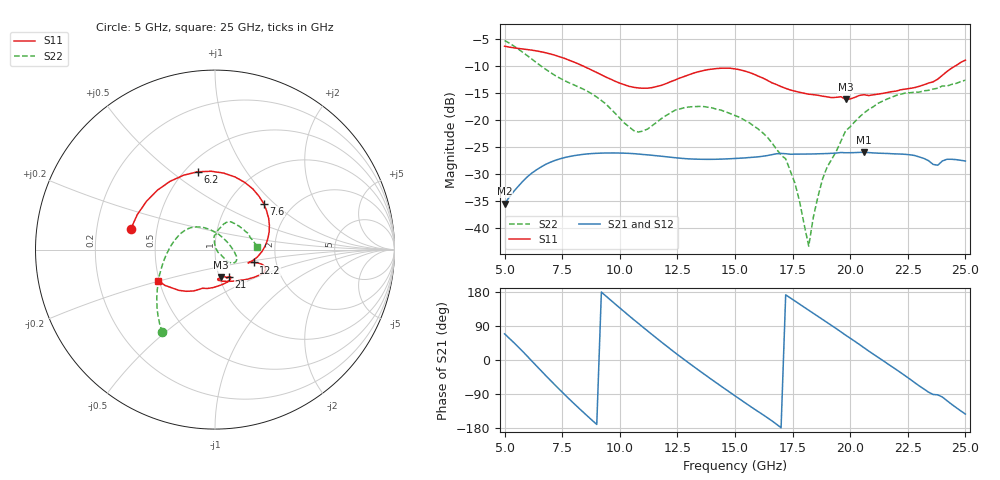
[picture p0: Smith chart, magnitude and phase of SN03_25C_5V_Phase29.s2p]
!File name = SN03_25C_5V_Phase29.s2p
!Date = 2/3/2014
!Time = 2:36 PM
!Test duration(min) = 0.07
!Test = SPars
!MPTS version = 7.120.8
!Comments =
!set_LD1(binary) = 29
!set_LD2(binary) = 524258
!test = SPars
!date_code = 20140203
!file_name = SN03_25C_5V_Phase29.s2p
!VREF(V) = 5.000
!VREF(mA) = 0.002
# GHz  S  DB  R  50
!%	Freq(GHz)  S11(dB)  S11(deg)  S21(dB)  S21(deg)  S12(dB)  S12(deg)  S22(dB)  S22(deg)
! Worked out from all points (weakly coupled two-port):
!   101 points, 5 GHz to 25 GHz, reference 50 ohm
!   highest |S21| = -25.93 dB at 20.6 GHz (marker M1); lowest = -35.4 dB at 5 GHz (marker M2)
!   lowest |S11| = -16.1 dB at 19.8 GHz (marker M3), VSWR 1.37, Z = 51 - j15.9 ohm
!   |S11| at or under -10 dB: 8.423 GHz to 24.55 GHz (16.12 GHz wide, 97.8 % of centre)
!   |S22| runs from -43.3 to -5.2 dB; largest |S21 - S12| = 0.00025
!   S11 on the Smith chart (normalised r, x): 5 GHz: 0.35, +0.10; 6.2 GHz: 0.58, +0.62; 7.6 GHz: 1.44, +0.86; 12.2 GHz: 1.53, -0.23; 21 GHz: 1.11, -0.35; 25 GHz: 0.49, -0.20
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5  -6.31 166.6  -35.43 69.0  -35.44 68.8  -5.24 -122.5
5.6  -6.72 134.2  -32.19 33.8  -32.19 33.9  -6.86 -135.4
6.2  -7.05 102.7  -29.72 -3.9  -29.73 -3.9  -8.75 -150.2
7.6  -8.55 43.3  -26.91 -90.9  -26.94 -90.7  -12.66 168.1
8.4  -9.95 18.3  -26.32 -137.0  -26.34 -136.9  -14.21 144.7
10.6  -13.90 -20.9  -26.18 106.8  -26.20 106.9  -21.91 62.1
11.8  -13.55 -19.8  -26.66 47.7  -26.67 47.7  -19.71 -3.0
12.2  -12.88 -18.4  -26.84 28.6  -26.83 28.5  -18.64 -13.0
13.6  -10.84 -18.4  -27.22 -34.7  -27.22 -34.8  -17.44 -30.4
15  -10.51 -25.6  -27.07 -94.6  -27.07 -94.7  -19.13 -41.0
16.2  -12.18 -41.9  -26.66 -143.9  -26.68 -143.9  -22.32 -43.2
17.2  -14.11 -63.5  -26.19 172.1  -26.21 172.1  -27.15 -41.4
17.6  -14.63 -72.1  -26.27 155.8  -26.29 155.9  -31.63 -42.3
18.2  -15.18 -82.0  -26.25 131.3  -26.26 131.3  -43.30 35.2
18.4  -15.27 -83.7  -26.23 123.2  -26.25 123.2  -37.95 73.7
18.8  -15.55 -84.8  -26.19 107.0  -26.20 107.0  -30.89 90.4
19.8  -16.14 -77.4  -26.01 65.6  -26.03 65.7  -21.96 92.0
20.6  -15.28 -67.4  -25.93 32.3  -25.95 32.5  -18.66 79.3
21  -15.30 -63.0  -26.04 15.5  -26.06 15.6  -17.51 74.6
21.8  -14.71 -61.7  -26.19 -17.1  -26.21 -17.1  -15.75 67.8
23.2  -13.45 -93.6  -27.07 -76.6  -27.09 -76.5  -14.56 44.9
25  -8.88 -151.3  -27.55 -142.7  -27.55 -142.7  -12.59 3.9
